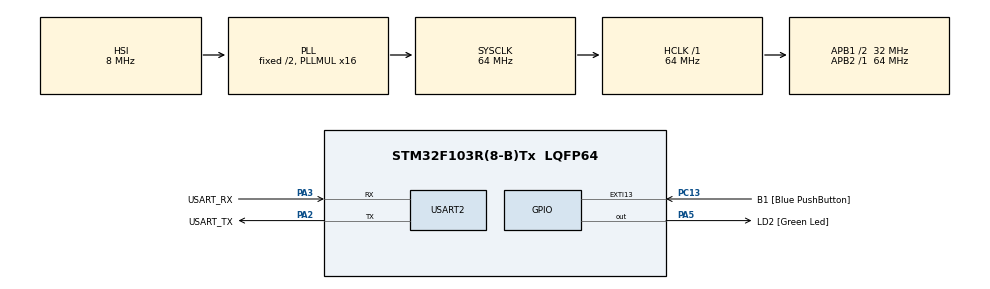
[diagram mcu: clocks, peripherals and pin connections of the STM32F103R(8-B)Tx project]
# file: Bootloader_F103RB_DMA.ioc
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Dma.Request0=USART2_RX
Dma.Request1=USART2_TX
Dma.USART2_RX.0.Direction=DMA_PERIPH_TO_MEMORY
Dma.USART2_RX.0.Instance=DMA1_Channel6
Dma.USART2_RX.0.MemDataAlignment=DMA_MDATAALIGN_BYTE
Dma.USART2_RX.0.MemInc=DMA_MINC_ENABLE
Dma.USART2_RX.0.Mode=DMA_NORMAL
Dma.USART2_RX.0.PeriphDataAlignment=DMA_PDATAALIGN_BYTE
Dma.USART2_RX.0.PeriphInc=DMA_PINC_DISABLE
Dma.USART2_RX.0.Priority=DMA_PRIORITY_LOW
Dma.USART2_TX.1.Direction=DMA_MEMORY_TO_PERIPH
Dma.USART2_TX.1.Instance=DMA1_Channel7
Dma.USART2_TX.1.MemDataAlignment=DMA_MDATAALIGN_BYTE
Dma.USART2_TX.1.MemInc=DMA_MINC_ENABLE
Dma.USART2_TX.1.Mode=DMA_NORMAL
Dma.USART2_TX.1.PeriphDataAlignment=DMA_PDATAALIGN_BYTE
Dma.USART2_TX.1.PeriphInc=DMA_PINC_DISABLE
Dma.USART2_TX.1.Priority=DMA_PRIORITY_LOW
Mcu.Family=STM32F1
Mcu.Name=STM32F103R(8-B)Tx
Mcu.Package=LQFP64
NVIC.DMA1_Channel6_IRQn=true\:0\:0\:false\:false\:true\:false\:true\:true
NVIC.DMA1_Channel7_IRQn=true\:0\:0\:false\:false\:true\:false\:true\:true
NVIC.EXTI15_10_IRQn=true\:0\:0\:false\:false\:true\:true\:true\:true
NVIC.PriorityGroup=NVIC_PRIORITYGROUP_4
NVIC.USART2_IRQn=true\:0\:0\:false\:false\:true\:true\:true\:true
PA13.GPIO_Label=TMS
PA13.Mode=Serial_Wire
PA13.Signal=SYS_JTMS-SWDIO
PA14.GPIO_Label=TCK
PA14.Mode=Serial_Wire
PA14.Signal=SYS_JTCK-SWCLK
PA2.GPIO_Label=USART_TX
PA2.GPIO_Mode=GPIO_MODE_AF_PP
PA2.GPIO_PuPd=GPIO_NOPULL
PA2.GPIO_Speed=GPIO_SPEED_FREQ_LOW
PA2.Mode=Asynchronous
PA2.Signal=USART2_TX
PA3.GPIO_Label=USART_RX
PA3.GPIO_Mode=GPIO_MODE_AF_PP
PA3.GPIO_PuPd=GPIO_NOPULL
PA3.GPIO_Speed=GPIO_SPEED_FREQ_LOW
PA3.Mode=Asynchronous
PA3.Signal=USART2_RX
PA5.GPIO_Label=LD2 [Green Led]
PA5.GPIO_ModeDefaultOutputPP=GPIO_MODE_OUTPUT_PP
PA5.GPIO_PuPd=GPIO_NOPULL
PA5.GPIO_Speed=GPIO_SPEED_FREQ_LOW
PA5.Signal=GPIO_Output
PB3.GPIO_Label=SWO
PB3.Signal=SYS_JTDO-TRACESWO
PC13-TAMPER-RTC.GPIO_Label=B1 [Blue PushButton]
PC13-TAMPER-RTC.GPIO_PuPd=GPIO_NOPULL
PC13-TAMPER-RTC.Signal=GPXTI13
PC14-OSC32_IN.Mode=LSE-External-Oscillator
PC14-OSC32_IN.Signal=RCC_OSC32_IN
PC15-OSC32_OUT.Mode=LSE-External-Oscillator
PC15-OSC32_OUT.Signal=RCC_OSC32_OUT
PD0-OSC_IN.Mode=HSE-External-Clock-Source
PD0-OSC_IN.Signal=RCC_OSC_IN
PD1-OSC_OUT.Mode=HSE-External-Clock-Source
PD1-OSC_OUT.Signal=RCC_OSC_OUT
ProjectManager.HeapSize=0x200
ProjectManager.StackSize=0x400
ProjectManager.TargetToolchain=CMake
RCC.AHBFreq_Value=64000000
RCC.APB1CLKDivider=RCC_HCLK_DIV2
RCC.APB1Freq_Value=32000000
RCC.APB1TimFreq_Value=64000000
RCC.APB2Freq_Value=64000000
RCC.APB2TimFreq_Value=64000000
RCC.HCLKFreq_Value=64000000
RCC.PLLMUL=RCC_PLL_MUL16
RCC.RTCClockSelection=RCC_RTCCLKSOURCE_LSE
RCC.SYSCLKFreq_VALUE=64000000
RCC.SYSCLKSource=RCC_SYSCLKSOURCE_PLLCLK
RCC.USBFreq_Value=64000000
USART2.VirtualMode=VM_ASYNC
VP_CRC_VS_CRC.Mode=CRC_Activate
board=NUCLEO-F103RB

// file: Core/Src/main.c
/* USER CODE BEGIN Header */
/*
TODOS:
  - Implement uart driver by self to reduce flash space
  - Fix includes
  - Calculate crc_accumulate by hand for report
  - IMPORTANT: MCUboot avoids directly depending on printf() by using a lightweight logging abstraction layer
              (BOOT_LOG_INF, BOOT_LOG_ERR, etc.) that routes messages to a backend chosen per platform (Zephyr logging,
              UART, RTT, or completely disabled). In your bootloader, you can do the same by replacing printf calls with
              simple macros that ultimately call a tiny UART string function using HAL_UART_Transmit(), while
              compiling logging out entirely in builds to avoid pulling in the large printf formatting code from newlib.

adding external code from:
  AES-128 CTR: https://github.com/kokke/tiny-AES-c
  ECDSA: https://github.com/kmackay/micro-ecc
    https://asecuritysite.com/ecies/index
  CRC32: https://github.com/Steppeschool/stm32-custom-bootloader/tree/main
  SHA-256: https://github.com/B-Con/crypto-algorithms
*/
#ifdef DEBUG
#warning "DEBUG BUILD"
#endif
/**
  ******************************************************************************
  * @file           : main.c
  * @brief          : Main program body
  ******************************************************************************
  * @attention
  *
  * Copyright (c) 2026 STMicroelectronics.
  * All rights reserved.
  *
  * This software is licensed under terms that can be found in the LICENSE file
  * in the root directory of this software component.
  * If no LICENSE file comes with this software, it is provided AS-IS.
  *
  ******************************************************************************
  */
/* USER CODE END Header */
#include "main.h"

/* USER CODE BEGIN Includes */
#include "logging.h"
#include "Middleware/flash.h"
#include "Middleware/uart_reception.h"
#include "Middleware/metadata.h"
#if BL_LOG_LEVEL == BL_LOG_PRINTF
#include "printf-stdarg.c"
#endif
/* USER CODE END Includes */

/* USER CODE BEGIN PD */
#define BL_VERSION_MAJOR 0
#define BL_VERSION_MINOR 1
#ifdef DEBUG
#define DBG_FORCE_UPDATE 1
#else
#define DBG_FORCE_UPDATE 0
#endif
/* USER CODE END PD */

CRC_HandleTypeDef hcrc;

UART_HandleTypeDef huart2;
DMA_HandleTypeDef hdma_usart2_rx;
DMA_HandleTypeDef hdma_usart2_tx;

/* USER CODE BEGIN PV */
const uint8_t BL_Version[2] = { BL_VERSION_MAJOR, BL_VERSION_MINOR };
Metadata meta;
/* USER CODE END PV */

void SystemClock_Config(void);
static void MX_GPIO_Init(void);
static void MX_DMA_Init(void);
static void MX_USART2_UART_Init(void);
static void MX_CRC_Init(void);
/* USER CODE BEGIN PFP */
void Task_BL_SetLED(void);
void Task_BL_BlinkLED(void);
static void goto_application(Metadata *meta);
static void check_for_update(Metadata *meta);
#if BL_LOG_LEVEL == BL_LOG_PRINTF
int uart_putchar(int c);
#endif
int Rollback_Check(Metadata *m);
/* USER CODE END PFP */

/* USER CODE BEGIN 0 */
volatile uint8_t uart_rx_done = 0;
volatile uint16_t uart_size = 0;
uint8_t header_buf[2]; // header buf contains 0xAA and 0xBB no size, going from 6 to 2
// bool SLOTA_LATEST = true; // true = slot a contains latest firmware // false = slot b contains latest firmware

void HAL_UARTEx_RxEventCallback(UART_HandleTypeDef *huart, uint16_t Size)
{
    if (huart->Instance == USART2)
    {
        uart_size = Size;
        uart_rx_done = 1;
    }
}

int Rollback_Check(Metadata *m) {
  if (meta.bootcount < BOOT_COUNT_MAX) return 0;
  meta.SLOTA_LATEST = !meta.SLOTA_LATEST; // flip to previous slot
  meta.bootcount = 0;
  Metadata_Save(&meta);
  return 1;
}
/* USER CODE END 0 */

int main(void)
{

  /* MCU Configuration--------------------------------------------------------*/

  /* Reset of all peripherals, Initializes the Flash interface and the Systick. */

  HAL_Init();

  /* Configure the system clock */
  SystemClock_Config();

  /* Initialize all configured peripherals */
  MX_GPIO_Init();
  MX_DMA_Init();
  MX_USART2_UART_Init();
  MX_CRC_Init();
  /* USER CODE BEGIN 2 */
  Task_BL_SetLED();
  // DEBUG_PRINTF("Starting bootloader (%d.%d)...\r\n", BL_Version[0], BL_Version[1]); // ls /dev/tty.*
                                                                              // screen /dev/tty.usbmodem1103 115200
                                                                              // exit: Ctrl + A, then K
  BL_LOG("Starting bootloader (0.1)\r\n");
  Metadata_Load(&meta);
  // DEBUG_PRINTF("Metadata: Slot: %d, Boot Count: %d.\r\n", meta.SLOTA_LATEST, meta.bootcount);
  if (Rollback_Check(&meta)) { // rollback
    // DEBUG_PRINTF("Boot count exceeded! Rolling back to Slot %d.\r\n", meta.SLOTA_LATEST);
    BL_LOG("Bootcount exceeded. Rolling back to previous version.");
  }
  Metadata_IncrementBootCount(&meta); // increment before jumping
  check_for_update(&meta);
  goto_application(&meta);
  /* USER CODE END 2 */

  /* Infinite loop */
  while (1)
  {

  }
}

void SystemClock_Config(void)
{
  RCC_OscInitTypeDef RCC_OscInitStruct = {0};
  RCC_ClkInitTypeDef RCC_ClkInitStruct = {0};

  /** Initializes the RCC Oscillators according to the specified parameters
  * in the RCC_OscInitTypeDef structure.
  */
  RCC_OscInitStruct.OscillatorType = RCC_OSCILLATORTYPE_HSI;
  RCC_OscInitStruct.HSIState = RCC_HSI_ON;
  RCC_OscInitStruct.HSICalibrationValue = RCC_HSICALIBRATION_DEFAULT;
  RCC_OscInitStruct.PLL.PLLState = RCC_PLL_ON;
  RCC_OscInitStruct.PLL.PLLSource = RCC_PLLSOURCE_HSI_DIV2;
  RCC_OscInitStruct.PLL.PLLMUL = RCC_PLL_MUL16;
  if (HAL_RCC_OscConfig(&RCC_OscInitStruct) != HAL_OK)
  {
    Error_Handler();
  }

  /** Initializes the CPU, AHB and APB buses clocks
  */
  RCC_ClkInitStruct.ClockType = RCC_CLOCKTYPE_HCLK|RCC_CLOCKTYPE_SYSCLK
                              |RCC_CLOCKTYPE_PCLK1|RCC_CLOCKTYPE_PCLK2;
  RCC_ClkInitStruct.SYSCLKSource = RCC_SYSCLKSOURCE_PLLCLK;
  RCC_ClkInitStruct.AHBCLKDivider = RCC_SYSCLK_DIV1;
  RCC_ClkInitStruct.APB1CLKDivider = RCC_HCLK_DIV2;
  RCC_ClkInitStruct.APB2CLKDivider = RCC_HCLK_DIV1;

  if (HAL_RCC_ClockConfig(&RCC_ClkInitStruct, FLASH_LATENCY_2) != HAL_OK)
  {
    Error_Handler();
  }
}

static void MX_CRC_Init(void)
{

  hcrc.Instance = CRC;
  if (HAL_CRC_Init(&hcrc) != HAL_OK)
  {
    Error_Handler();
  }

}

static void MX_USART2_UART_Init(void)
{

  huart2.Instance = USART2;
  huart2.Init.BaudRate = 115200;
  huart2.Init.WordLength = UART_WORDLENGTH_8B;
  huart2.Init.StopBits = UART_STOPBITS_1;
  huart2.Init.Parity = UART_PARITY_NONE;
  huart2.Init.Mode = UART_MODE_TX_RX;
  huart2.Init.HwFlowCtl = UART_HWCONTROL_NONE;
  huart2.Init.OverSampling = UART_OVERSAMPLING_16;
  if (HAL_UART_Init(&huart2) != HAL_OK)
  {
    Error_Handler();
  }

}

static void MX_DMA_Init(void)
{

  /* DMA controller clock enable */
  __HAL_RCC_DMA1_CLK_ENABLE();

  /* DMA interrupt init */
  /* DMA1_Channel6_IRQn interrupt configuration */
  HAL_NVIC_SetPriority(DMA1_Channel6_IRQn, 0, 0);
  HAL_NVIC_EnableIRQ(DMA1_Channel6_IRQn);
  /* DMA1_Channel7_IRQn interrupt configuration */
  HAL_NVIC_SetPriority(DMA1_Channel7_IRQn, 0, 0);
  HAL_NVIC_EnableIRQ(DMA1_Channel7_IRQn);

}

static void MX_GPIO_Init(void)
{
  GPIO_InitTypeDef GPIO_InitStruct = {0};

  /* GPIO Ports Clock Enable */
  __HAL_RCC_GPIOC_CLK_ENABLE();
  __HAL_RCC_GPIOD_CLK_ENABLE();
  __HAL_RCC_GPIOA_CLK_ENABLE();
  __HAL_RCC_GPIOB_CLK_ENABLE();

  /*Configure GPIO pin Output Level */
  HAL_GPIO_WritePin(LD2_GPIO_Port, LD2_Pin, GPIO_PIN_RESET);

  /*Configure GPIO pin : B1_Pin */
  GPIO_InitStruct.Pin = B1_Pin;
  GPIO_InitStruct.Mode = GPIO_MODE_IT_RISING;
  GPIO_InitStruct.Pull = GPIO_NOPULL;
  HAL_GPIO_Init(B1_GPIO_Port, &GPIO_InitStruct);

  /*Configure GPIO pin : LD2_Pin */
  GPIO_InitStruct.Pin = LD2_Pin;
  GPIO_InitStruct.Mode = GPIO_MODE_OUTPUT_PP;
  GPIO_InitStruct.Pull = GPIO_NOPULL;
  GPIO_InitStruct.Speed = GPIO_SPEED_FREQ_LOW;
  HAL_GPIO_Init(LD2_GPIO_Port, &GPIO_InitStruct);

  /* EXTI interrupt init*/
  HAL_NVIC_SetPriority(EXTI15_10_IRQn, 0, 0);
  HAL_NVIC_EnableIRQ(EXTI15_10_IRQn);

}

/* USER CODE BEGIN 4 */

#if BL_LOG_LEVEL == BL_LOG_PRINTF
int uart_putchar(int c)
{
  HAL_UART_Transmit(&huart2, (uint8_t *)&c, 1, HAL_MAX_DELAY);
  return c;
}
#endif

void Task_BL_SetLED(void) {
  HAL_GPIO_WritePin(LD2_GPIO_Port, LD2_Pin, GPIO_PIN_SET);
}

void Task_BL_BlinkLED(void) {
  HAL_GPIO_WritePin(LD2_GPIO_Port, LD2_Pin, GPIO_PIN_SET);
  HAL_Delay(1000);
  HAL_GPIO_WritePin(LD2_GPIO_Port, LD2_Pin, GPIO_PIN_RESET);
  HAL_Delay(1000);
}

static void goto_application(Metadata *meta) {
  if (meta->SLOTA_LATEST) {
    if ((*(volatile uint32_t *)SLOTA_START_ADDRESS) == 0xFFFFFFFF) {
        BL_LOG("No app found, staying in bootloader...\r\n");
        return;
      } else {
    BL_LOG("Jumping to application...\r\n");
    HAL_GPIO_WritePin(LD2_GPIO_Port, LD2_Pin, GPIO_PIN_RESET);
      void (*app_reset_handler)(void) = (void *) ( *(volatile uint32_t *) (SLOTA_START_ADDRESS + 4U)); // slot A's reset handler
      //   HAL_DeInit();        // de-init peripherals + mask SysTick IRQ
      // SysTick->CTRL = 0;  // fully stop the counter itself
      // __disable_irq(); // EXTI interrupt enabled (blue button, EXTI15_10_IRQn). If fired during/after jump, before app sets up SCB->VTOR, will call the bootloader's ISR handler — which no longer has a valid stack context
        SCB->VTOR = SLOTA_START_ADDRESS; // so the app doesn't need to do it
      __set_MSP(*(volatile uint32_t *)SLOTA_START_ADDRESS); //  used by CPU for exception handlers, HardFaults, SysTick, UART interrupts, any ISR. psp = application thread code
      app_reset_handler(); // call function pointer
      }
  } else {
      if ((*(volatile uint32_t *)SLOTB_START_ADDRESS) == 0xFFFFFFFF) {
        BL_LOG("No app found, staying in bootloader...\r\n");
        return;
      } else {
    BL_LOG("Jumping to application...\r\n");
    HAL_GPIO_WritePin(LD2_GPIO_Port, LD2_Pin, GPIO_PIN_RESET);
      void (*app_reset_handler)(void) = (void *) ( *(volatile uint32_t *) (SLOTB_START_ADDRESS + 4U)); // slot B's reset handler
        SCB->VTOR = SLOTB_START_ADDRESS;
      __set_MSP(*(volatile uint32_t *)SLOTB_START_ADDRESS);
      app_reset_handler();
      }
  }
}
/* User button nucleo f103rb:
Pressed State: Low (HAL_GPIO_ReadPin returns GPIO_PIN_RESET or 0)
Released State: High (HAL_GPIO_ReadPin returns GPIO_PIN_SET or 1)
*/
static void check_for_update(Metadata *meta) {

  GPIO_PinState Update_Pin_State;
  uint32_t end_tick = HAL_GetTick() + 5000; // 5 seconds from now

  BL_LOG("Press the User Button B1 PC13 to trigger UART update...\r\n");
  do {
    Update_Pin_State = HAL_GPIO_ReadPin( B1_GPIO_Port, B1_Pin );
    uint32_t current_tick = HAL_GetTick();

    if ((Update_Pin_State == GPIO_PIN_RESET ) || (current_tick > end_tick)) { // either button not pressed OR current tick > end_tick after 5 second window
      break;
    }
  } while (1);
  if (Update_Pin_State == GPIO_PIN_RESET /*|| DBG_FORCE_UPDATE*/) {
    BL_LOG("Starting Firmware Download!\r\n");
    HAL_UART_Transmit(&huart2, (uint8_t *)"READY\r\n", 7, 100);
    uart_rx_done = 0; uart_size = 0;
    HAL_UARTEx_ReceiveToIdle_DMA(&huart2, header_buf, sizeof(header_buf));
    __HAL_DMA_DISABLE_IT(&hdma_usart2_rx, DMA_IT_HT);
    while (!uart_rx_done || uart_size != sizeof(header_buf)) {}
    if (UART_Receive(header_buf, meta) == RECEP_OK) {
      Metadata_UpdateAfterRecieve(meta, meta->SLOTA_LATEST);
      HAL_UART_Transmit(&huart2, (uint8_t *)"OK\r\n", 4, 100);
      // DEBUG_PRINTF("Firmware update done! Programming into slot %d.\r\nRebooting...\r\n", meta->SLOTA_LATEST); // slot A = 1, B = 0
      BL_LOG("Firmware update done!\r\nRebooting...\r\n");
      HAL_Delay(100);
      HAL_NVIC_SystemReset();
    } else {
      BL_LOG("Firmware update error! Halt!\r\n"); while (1) { Task_BL_BlinkLED(); };
    }
    // will fall to goto_application() as button not pressed within 5 secs
  }
}
/* USER CODE END 4 */

void Error_Handler(void)
{
  __disable_irq();
  while (1)
  {
  }
}
